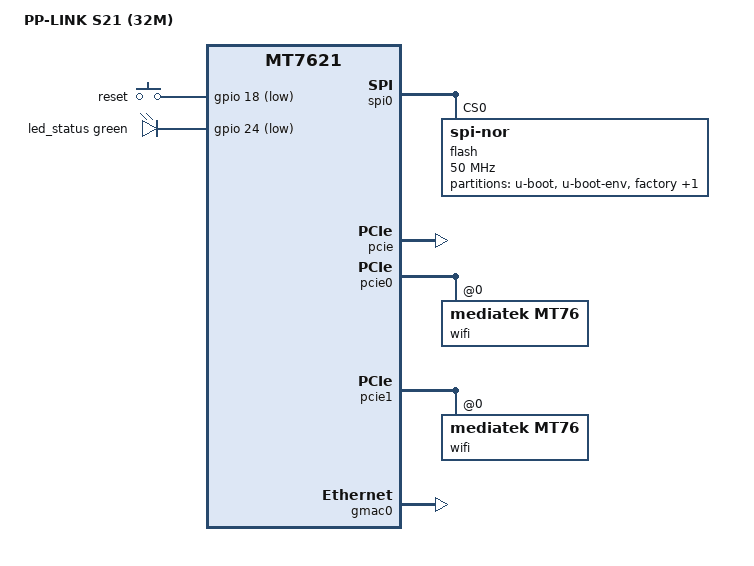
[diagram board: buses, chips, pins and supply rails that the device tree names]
// SPDX-License-Identifier: GPL-2.0-or-later OR MIT

#include "mt7621.dtsi"

#include <dt-bindings/gpio/gpio.h>
#include <dt-bindings/input/input.h>
#include <dt-bindings/leds/common.h>

/ {
	compatible = "pplink,s21-32m", "mediatek,mt7621-soc";
	model = "PP-LINK S21 (32M)";

	aliases {
		led-boot = &led_status;
		led-failsafe = &led_status;
		led-running = &led_status;
		led-upgrade = &led_status;
		label-mac-device = &gmac0;
	};

	chosen {
		bootargs = "console=ttyS0,115200";
	};

	keys {
		compatible = "gpio-keys";

		reset {
			label = "reset";
			gpios = <&gpio 18 GPIO_ACTIVE_LOW>;
			linux,code = <KEY_RESTART>;
		};
	};

	leds {
		compatible = "gpio-leds";

		led_status: status {
			function = LED_FUNCTION_STATUS;
			color = <LED_COLOR_ID_GREEN>;
			gpios = <&gpio 24 GPIO_ACTIVE_LOW>;
		};
	};
};

&i2c {
	status = "disabled";
};

&sdhci {
	status = "disabled";
};

&spi0 {
	status = "okay";

	flash@0 {
		compatible = "jedec,spi-nor";
		reg = <0>;
		spi-max-frequency = <50000000>;
		broken-flash-reset;

		partitions {
			compatible = "fixed-partitions";
			#address-cells = <1>;
			#size-cells = <1>;

			partition@0 {
				label = "u-boot";
				reg = <0x000000 0x30000>;
				read-only;
			};

			partition@30000 {
				label = "u-boot-env";
				reg = <0x30000 0x10000>;
				read-only;
			};

			factory: partition@40000 {
				label = "factory";
				reg = <0x40000 0x10000>;
				read-only;
			};

			partition@50000 {
				compatible = "denx,uimage";
				label = "firmware";
				reg = <0x50000 0x1fb0000>;
			};
		};
	};
};

&pcie {
	status = "okay";
};

&pcie0 {
	wifi@0,0 {
		compatible = "mediatek,mt76";
		reg = <0x0000 0 0 0 0>;
		mediatek,mtd-eeprom = <&factory 0x0000>;
		ieee80211-freq-limit = <2400000 2500000>;
	};
};

&pcie1 {
	wifi@0,0 {
		compatible = "mediatek,mt76";
		reg = <0x0000 0 0 0 0>;
		mediatek,mtd-eeprom = <&factory 0x8000>;
		ieee80211-freq-limit = <5000000 6000000>;
	};
};

&gmac0 {
	status = "okay";
};

&switch0 {
	ports {
		port@1 {
			status = "okay";
			label = "lan3";
		};
		port@2 {
			status = "okay";
			label = "lan2";
		};
		port@3 {
			status = "okay";
			label = "lan1";
		};
		port@4 {
			status = "okay";
			label = "wan";
		};
	};
};

&pin_ctrl {
	state_default: pinctrl0 {
		gpio {
			groups = "wdt", "rgmii2";
			function = "gpio";
		};
	};
};
